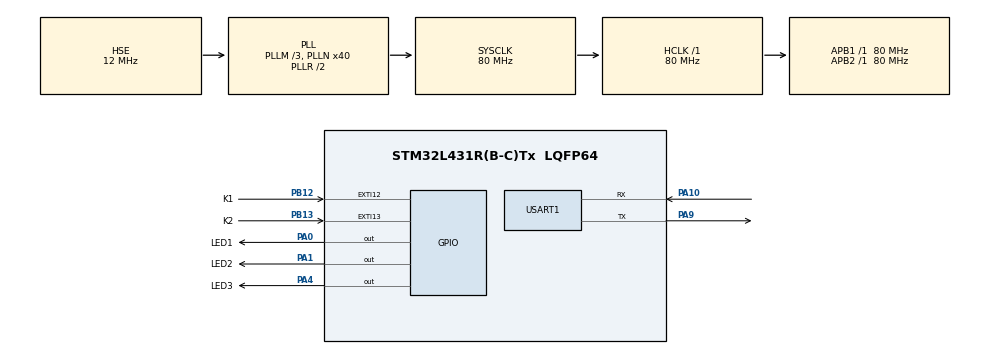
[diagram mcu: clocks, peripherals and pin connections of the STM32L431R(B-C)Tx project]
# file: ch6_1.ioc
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Mcu.Family=STM32L4
Mcu.Name=STM32L431R(B-C)Tx
Mcu.Package=LQFP64
NVIC.EXTI15_10_IRQn=true\:0\:0\:false\:false\:true\:true\:true\:true
NVIC.PriorityGroup=NVIC_PRIORITYGROUP_4
NVIC.TIM6_DAC_IRQn=true\:0\:0\:false\:false\:true\:true\:true\:true
PA0.GPIO_Label=LED1
PA0.PinState=GPIO_PIN_SET
PA0.Signal=GPIO_Output
PA1.GPIO_Label=LED2
PA1.PinState=GPIO_PIN_SET
PA1.Signal=GPIO_Output
PA10.Mode=Asynchronous
PA10.Signal=USART1_RX
PA13\ (JTMS-SWDIO).Mode=Serial_Wire
PA13\ (JTMS-SWDIO).Signal=SYS_JTMS-SWDIO
PA14\ (JTCK-SWCLK).Mode=Serial_Wire
PA14\ (JTCK-SWCLK).Signal=SYS_JTCK-SWCLK
PA4.GPIO_Label=LED3
PA4.PinState=GPIO_PIN_SET
PA4.Signal=GPIO_Output
PA9.Mode=Asynchronous
PA9.Signal=USART1_TX
PB12.GPIO_Label=K1
PB12.GPIO_ModeDefaultEXTI=GPIO_MODE_IT_RISING
PB12.GPIO_PuPd=GPIO_PULLDOWN
PB12.Signal=GPXTI12
PB13.GPIO_Label=K2
PB13.GPIO_ModeDefaultEXTI=GPIO_MODE_IT_RISING
PB13.GPIO_PuPd=GPIO_PULLDOWN
PB13.Signal=GPXTI13
PH0-OSC_IN\ (PH0).Mode=HSE-External-Oscillator
PH0-OSC_IN\ (PH0).Signal=RCC_OSC_IN
PH1-OSC_OUT\ (PH1).Mode=HSE-External-Oscillator
PH1-OSC_OUT\ (PH1).Signal=RCC_OSC_OUT
ProjectManager.HeapSize=0x200
ProjectManager.StackSize=0x400
ProjectManager.TargetToolchain=STM32CubeIDE
RCC.ADCFreq_Value=16000000
RCC.AHBFreq_Value=80000000
RCC.APB1Freq_Value=80000000
RCC.APB1TimFreq_Value=80000000
RCC.APB2Freq_Value=80000000
RCC.APB2TimFreq_Value=80000000
RCC.CortexFreq_Value=80000000
RCC.HCLKFreq_Value=80000000
RCC.HSE_VALUE=12000000
RCC.HSI48_VALUE=48000000
RCC.HSI_VALUE=16000000
RCC.LSE_VALUE=32768
RCC.MSI_VALUE=4000000
RCC.PLLM=3
RCC.PLLN=40
RCC.PLLSourceVirtual=RCC_PLLSOURCE_HSE
RCC.SYSCLKFreq_VALUE=80000000
RCC.SYSCLKSource=RCC_SYSCLKSOURCE_PLLCLK
RCC.VCOOutputFreq_Value=160000000
TIM6.AutoReloadPreload=TIM_AUTORELOAD_PRELOAD_ENABLE
TIM6.Period=10000-1
TIM6.Prescaler=8000-1
USART1.VirtualMode-Asynchronous=VM_ASYNC
VP_TIM6_VS_ClockSourceINT.Mode=Enable_Timer
board=custom

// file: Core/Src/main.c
/* USER CODE BEGIN Header */
/**
  ******************************************************************************
  * @file           : main.c
  * @brief          : Main program body
  ******************************************************************************
  * @attention
  *
  * Copyright (c) 2021 STMicroelectronics.
  * All rights reserved.
  *
  * This software is licensed under terms that can be found in the LICENSE file
  * in the root directory of this software component.
  * If no LICENSE file comes with this software, it is provided AS-IS.
  *
  ******************************************************************************
  */
/* 1）上电或复位后，系统进行初始化，初始化完成后，LED1先以0.5s的间隔闪3次，随后打印"System Init OK!\n",
 *    然后进入正常运行状，LED1间隔1s的闪�???,同时打印�???"LED1 On!\n"�???"LED1 Off!\n"�???
 * 2）按键K1和K2通过外部中断方式控制LED2和LED3，每按一次按键，LED状�?�发生一次改�???
 * 实现步骤：先修改程序，实现K1和K2通过外部中断控制LED2和LED3，下载程序验证成功后，再配置USART1实现串口打印�???
 * 串口配置很简单，只需选择一个串口，确认引脚是否对应，其它保持默认。
 * */
/* USER CODE END Header */
#include "main.h"

/* USER CODE BEGIN Includes */
#include "stdio.h" //标准输入输出，printf函数需要包含该头文件。
/* USER CODE END Includes */

 TIM_HandleTypeDef htim6;

UART_HandleTypeDef huart1;

void SystemClock_Config(void);
static void MX_GPIO_Init(void);
static void MX_TIM6_Init(void);
static void MX_USART1_UART_Init(void);

/* USER CODE BEGIN 0 */
/* 串口重定向，需要将printf函数重定向至串口，可百度搜索相关程序 */
#ifdef __GNUC__
#define PUTCHAR_PROTOTYPE int __io_putchar(int ch)
#else
#define PUTCHAR_PROTOTYPE int fputc(int ch, FILE *f)
#endif

PUTCHAR_PROTOTYPE
{
    //具体哪个串口可以更改huart1为其它串口
    HAL_UART_Transmit(&huart1, (uint8_t *)&ch, 1 , 0xffff);
    return ch;
}
/* USER CODE END 0 */

int main(void)
{

  /* MCU Configuration--------------------------------------------------------*/

  /* Reset of all peripherals, Initializes the Flash interface and the Systick. */
  HAL_Init();

  /* Configure the system clock */
  SystemClock_Config();

  /* Initialize all configured peripherals */
  MX_GPIO_Init();
  MX_TIM6_Init();
  MX_USART1_UART_Init();
  /* USER CODE BEGIN 2 */
  /* 1. LED1先以0.5s的间隔闪烁3次 */
  for(int i=0; i<6; i++)
  {
	  HAL_GPIO_TogglePin(LED1_GPIO_Port, LED1_Pin);//电平翻转
	  HAL_Delay(500);
  }

  printf("System OK!\n");//打印System Init OK!

  /* 启动TIM6 */
  HAL_TIM_Base_Start_IT(&htim6);
  /* USER CODE END 2 */

  /* Infinite loop */
  while (1)
  {

  }
}

void SystemClock_Config(void)
{
  RCC_OscInitTypeDef RCC_OscInitStruct = {0};
  RCC_ClkInitTypeDef RCC_ClkInitStruct = {0};

  /** Configure the main internal regulator output voltage
  */
  if (HAL_PWREx_ControlVoltageScaling(PWR_REGULATOR_VOLTAGE_SCALE1) != HAL_OK)
  {
    Error_Handler();
  }

  /** Initializes the RCC Oscillators according to the specified parameters
  * in the RCC_OscInitTypeDef structure.
  */
  RCC_OscInitStruct.OscillatorType = RCC_OSCILLATORTYPE_HSE;
  RCC_OscInitStruct.HSEState = RCC_HSE_ON;
  RCC_OscInitStruct.PLL.PLLState = RCC_PLL_ON;
  RCC_OscInitStruct.PLL.PLLSource = RCC_PLLSOURCE_HSE;
  RCC_OscInitStruct.PLL.PLLM = 3;
  RCC_OscInitStruct.PLL.PLLN = 40;
  RCC_OscInitStruct.PLL.PLLP = RCC_PLLP_DIV7;
  RCC_OscInitStruct.PLL.PLLQ = RCC_PLLQ_DIV2;
  RCC_OscInitStruct.PLL.PLLR = RCC_PLLR_DIV2;
  if (HAL_RCC_OscConfig(&RCC_OscInitStruct) != HAL_OK)
  {
    Error_Handler();
  }

  /** Initializes the CPU, AHB and APB buses clocks
  */
  RCC_ClkInitStruct.ClockType = RCC_CLOCKTYPE_HCLK|RCC_CLOCKTYPE_SYSCLK
                              |RCC_CLOCKTYPE_PCLK1|RCC_CLOCKTYPE_PCLK2;
  RCC_ClkInitStruct.SYSCLKSource = RCC_SYSCLKSOURCE_PLLCLK;
  RCC_ClkInitStruct.AHBCLKDivider = RCC_SYSCLK_DIV1;
  RCC_ClkInitStruct.APB1CLKDivider = RCC_HCLK_DIV1;
  RCC_ClkInitStruct.APB2CLKDivider = RCC_HCLK_DIV1;

  if (HAL_RCC_ClockConfig(&RCC_ClkInitStruct, FLASH_LATENCY_4) != HAL_OK)
  {
    Error_Handler();
  }
}

static void MX_TIM6_Init(void)
{

  TIM_MasterConfigTypeDef sMasterConfig = {0};

  htim6.Instance = TIM6;
  htim6.Init.Prescaler = 8000-1;
  htim6.Init.CounterMode = TIM_COUNTERMODE_UP;
  htim6.Init.Period = 10000-1;
  htim6.Init.AutoReloadPreload = TIM_AUTORELOAD_PRELOAD_ENABLE;
  if (HAL_TIM_Base_Init(&htim6) != HAL_OK)
  {
    Error_Handler();
  }
  sMasterConfig.MasterOutputTrigger = TIM_TRGO_RESET;
  sMasterConfig.MasterSlaveMode = TIM_MASTERSLAVEMODE_DISABLE;
  if (HAL_TIMEx_MasterConfigSynchronization(&htim6, &sMasterConfig) != HAL_OK)
  {
    Error_Handler();
  }

}

static void MX_USART1_UART_Init(void)
{

  huart1.Instance = USART1;
  huart1.Init.BaudRate = 115200;
  huart1.Init.WordLength = UART_WORDLENGTH_8B;
  huart1.Init.StopBits = UART_STOPBITS_1;
  huart1.Init.Parity = UART_PARITY_NONE;
  huart1.Init.Mode = UART_MODE_TX_RX;
  huart1.Init.HwFlowCtl = UART_HWCONTROL_NONE;
  huart1.Init.OverSampling = UART_OVERSAMPLING_16;
  huart1.Init.OneBitSampling = UART_ONE_BIT_SAMPLE_DISABLE;
  huart1.AdvancedInit.AdvFeatureInit = UART_ADVFEATURE_NO_INIT;
  if (HAL_UART_Init(&huart1) != HAL_OK)
  {
    Error_Handler();
  }

}

static void MX_GPIO_Init(void)
{
  GPIO_InitTypeDef GPIO_InitStruct = {0};

  /* GPIO Ports Clock Enable */
  __HAL_RCC_GPIOH_CLK_ENABLE();
  __HAL_RCC_GPIOA_CLK_ENABLE();
  __HAL_RCC_GPIOB_CLK_ENABLE();

  /*Configure GPIO pin Output Level */
  HAL_GPIO_WritePin(GPIOA, LED1_Pin|LED2_Pin|LED3_Pin, GPIO_PIN_SET);

  /*Configure GPIO pins : LED1_Pin LED2_Pin LED3_Pin */
  GPIO_InitStruct.Pin = LED1_Pin|LED2_Pin|LED3_Pin;
  GPIO_InitStruct.Mode = GPIO_MODE_OUTPUT_PP;
  GPIO_InitStruct.Pull = GPIO_NOPULL;
  GPIO_InitStruct.Speed = GPIO_SPEED_FREQ_LOW;
  HAL_GPIO_Init(GPIOA, &GPIO_InitStruct);

  /*Configure GPIO pins : K1_Pin K2_Pin */
  GPIO_InitStruct.Pin = K1_Pin|K2_Pin;
  GPIO_InitStruct.Mode = GPIO_MODE_IT_RISING;
  GPIO_InitStruct.Pull = GPIO_PULLDOWN;
  HAL_GPIO_Init(GPIOB, &GPIO_InitStruct);

  /* EXTI interrupt init*/
  HAL_NVIC_SetPriority(EXTI15_10_IRQn, 0, 0);
  HAL_NVIC_EnableIRQ(EXTI15_10_IRQn);

}

/* USER CODE BEGIN 4 */
/* EXTI回调函数 */
void HAL_GPIO_EXTI_Callback(uint16_t GPIO_Pin)
{
	if(GPIO_Pin == K1_Pin)//判断是否为K1
	{
		HAL_GPIO_TogglePin(LED2_GPIO_Port, LED2_Pin);
	}
	if(HAL_GPIO_ReadPin(LED2_GPIO_Port,LED2_Pin) == GPIO_PIN_RESET)//亮
	{
		printf("LED2 On!\n");//\n表示换行
	}
	else
	{
		printf("LED2 Off!\n");//\n表示换行
	}
	if(GPIO_Pin == K2_Pin)//判断是否为K1
	{
		HAL_GPIO_TogglePin(LED3_GPIO_Port, LED3_Pin);
	}
	/* 亮打印LED1 On，灭打印LED1 Off，需判断 */
	if(HAL_GPIO_ReadPin(LED3_GPIO_Port,LED3_Pin) == GPIO_PIN_RESET)//亮
	{
		printf("LED3 On!\n");//\n表示换行
	}
	else
	{
		printf("LED3 Off!\n");//\n表示换行
	}
}

/* 定时器回调函函数 */
void HAL_TIM_PeriodElapsedCallback(TIM_HandleTypeDef *htim)
{
	if(htim->Instance == TIM6)//判断是否为TIM6
	{
		/* 1. 正常运行LED1间隔1s闪烁 */
		HAL_GPIO_TogglePin(LED1_GPIO_Port, LED1_Pin);
		/* 亮打印LED1 On，灭打印LED1 Off，需判断 */
		if(HAL_GPIO_ReadPin(LED1_GPIO_Port,LED1_Pin) == GPIO_PIN_RESET)//亮
		{
			printf("LED1 On!\n");//\n表示换行
		}
		else
		{
			printf("LED1 Off!\n");//\n表示换行
		}
	}
}
/* USER CODE END 4 */

void Error_Handler(void)
{
  __disable_irq();
  while (1)
  {
  }
}
